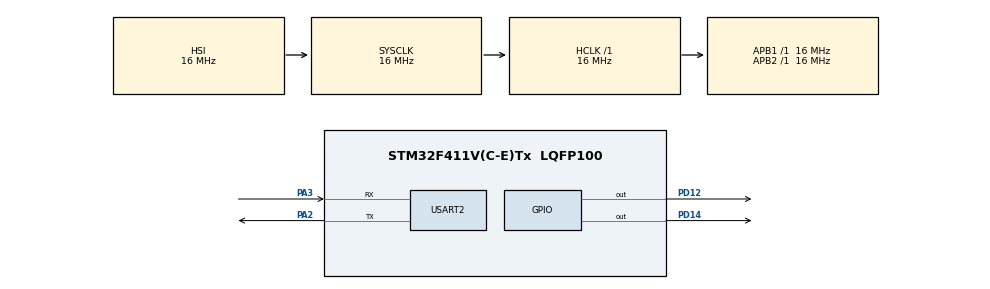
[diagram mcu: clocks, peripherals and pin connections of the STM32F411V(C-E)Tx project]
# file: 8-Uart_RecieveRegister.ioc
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Mcu.Family=STM32F4
Mcu.Name=STM32F411V(C-E)Tx
Mcu.Package=LQFP100
NVIC.PriorityGroup=NVIC_PRIORITYGROUP_4
PA2.Mode=Asynchronous
PA2.Signal=USART2_TX
PA3.Mode=Asynchronous
PA3.Signal=USART2_RX
PD12.Signal=GPIO_Output
PD14.Signal=GPIO_Output
ProjectManager.HeapSize=0x200
ProjectManager.StackSize=0x400
ProjectManager.TargetToolchain=STM32CubeIDE
RCC.AHBFreq_Value=16000000
RCC.APB1Freq_Value=16000000
RCC.APB2Freq_Value=16000000
RCC.CortexFreq_Value=16000000
RCC.HSE_VALUE=25000000
RCC.HSI_VALUE=16000000
RCC.LSE_VALUE=32768
RCC.SYSCLKFreq_VALUE=16000000
RCC.VCOOutputFreq_Value=192000000
USART2.VirtualMode=VM_ASYNC
board=custom

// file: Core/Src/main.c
/* USER CODE BEGIN Header */

/*
 	 	 	 	 ######	Bilal Habes Akcam ######
 	 	 	   	   	   02.11.2022

LED states are determined according to the data entered by the user.

  -> If entered 'O', The Green LED is Lights Up.
  -> If entered 'C', The Green LED is Lights Goes Out.
  -> If entered 'B', The Green LED is Blinks.
  -> if an external character is entered, the red led, which is the error led, will turn on.

  */

/* USER CODE END Header */
#include "main.h"

UART_HandleTypeDef huart2;

void SystemClock_Config(void);
static void MX_GPIO_Init(void);
static void MX_USART2_UART_Init(void);

int main(void)
{
  /* USER CODE BEGIN 1 */
	char myData = 0;

  /* USER CODE END 1 */

  /* MCU Configuration--------------------------------------------------------*/

  /* Reset of all peripherals, Initializes the Flash interface and the Systick. */
  HAL_Init();

  /* Configure the system clock */
  SystemClock_Config();

  /* Initialize all configured peripherals */
  MX_GPIO_Init();
  MX_USART2_UART_Init();

  /* Infinite loop */
  while (1)
  {

    /* USER CODE BEGIN 3 */

	  while(!(USART2->SR & USART_SR_RXNE));

	  myData = USART2->DR;

	  if(myData == 'O'){
		HAL_GPIO_WritePin(GPIOD, GPIO_PIN_12, SET);
		HAL_Delay(50);
		HAL_GPIO_WritePin(GPIOD, GPIO_PIN_14, RESET);

	  }

	  else if(myData == 'C'){
		HAL_GPIO_WritePin(GPIOD, GPIO_PIN_12, RESET);
		HAL_Delay(50);
		HAL_GPIO_WritePin(GPIOD, GPIO_PIN_14, RESET);
	  }

	  else if(myData == 'B'){
		  do{

			  HAL_GPIO_TogglePin(GPIOD, GPIO_PIN_12);
			  HAL_Delay(150);
			  HAL_GPIO_WritePin(GPIOD, GPIO_PIN_14, RESET);

		  }
		  while(USART2->DR == 'B');

	  }

	  else{
		  HAL_GPIO_WritePin(GPIOD, GPIO_PIN_12, RESET);
		  HAL_Delay(50);
		  HAL_GPIO_WritePin(GPIOD, GPIO_PIN_14, SET);
	  }

  }
  /* USER CODE END 3 */
}

void SystemClock_Config(void)
{
  RCC_OscInitTypeDef RCC_OscInitStruct = {0};
  RCC_ClkInitTypeDef RCC_ClkInitStruct = {0};

  /** Configure the main internal regulator output voltage
  */
  __HAL_RCC_PWR_CLK_ENABLE();
  __HAL_PWR_VOLTAGESCALING_CONFIG(PWR_REGULATOR_VOLTAGE_SCALE1);

  /** Initializes the RCC Oscillators according to the specified parameters
  * in the RCC_OscInitTypeDef structure.
  */
  RCC_OscInitStruct.OscillatorType = RCC_OSCILLATORTYPE_HSI;
  RCC_OscInitStruct.HSIState = RCC_HSI_ON;
  RCC_OscInitStruct.HSICalibrationValue = RCC_HSICALIBRATION_DEFAULT;
  RCC_OscInitStruct.PLL.PLLState = RCC_PLL_NONE;
  if (HAL_RCC_OscConfig(&RCC_OscInitStruct) != HAL_OK)
  {
    Error_Handler();
  }

  /** Initializes the CPU, AHB and APB buses clocks
  */
  RCC_ClkInitStruct.ClockType = RCC_CLOCKTYPE_HCLK|RCC_CLOCKTYPE_SYSCLK
                              |RCC_CLOCKTYPE_PCLK1|RCC_CLOCKTYPE_PCLK2;
  RCC_ClkInitStruct.SYSCLKSource = RCC_SYSCLKSOURCE_HSI;
  RCC_ClkInitStruct.AHBCLKDivider = RCC_SYSCLK_DIV1;
  RCC_ClkInitStruct.APB1CLKDivider = RCC_HCLK_DIV1;
  RCC_ClkInitStruct.APB2CLKDivider = RCC_HCLK_DIV1;

  if (HAL_RCC_ClockConfig(&RCC_ClkInitStruct, FLASH_LATENCY_0) != HAL_OK)
  {
    Error_Handler();
  }
}

static void MX_USART2_UART_Init(void)
{

  huart2.Instance = USART2;
  huart2.Init.BaudRate = 115200;
  huart2.Init.WordLength = UART_WORDLENGTH_8B;
  huart2.Init.StopBits = UART_STOPBITS_1;
  huart2.Init.Parity = UART_PARITY_NONE;
  huart2.Init.Mode = UART_MODE_TX_RX;
  huart2.Init.HwFlowCtl = UART_HWCONTROL_NONE;
  huart2.Init.OverSampling = UART_OVERSAMPLING_16;
  if (HAL_UART_Init(&huart2) != HAL_OK)
  {
    Error_Handler();
  }

}

static void MX_GPIO_Init(void)
{
  GPIO_InitTypeDef GPIO_InitStruct = {0};

  /* GPIO Ports Clock Enable */
  __HAL_RCC_GPIOA_CLK_ENABLE();
  __HAL_RCC_GPIOD_CLK_ENABLE();

  /*Configure GPIO pin Output Level */
  HAL_GPIO_WritePin(GPIOD, GPIO_PIN_12|GPIO_PIN_14, GPIO_PIN_RESET);

  /*Configure GPIO pins : PD12 PD14 */
  GPIO_InitStruct.Pin = GPIO_PIN_12|GPIO_PIN_14;
  GPIO_InitStruct.Mode = GPIO_MODE_OUTPUT_PP;
  GPIO_InitStruct.Pull = GPIO_NOPULL;
  GPIO_InitStruct.Speed = GPIO_SPEED_FREQ_LOW;
  HAL_GPIO_Init(GPIOD, &GPIO_InitStruct);

}

void Error_Handler(void)
{
  __disable_irq();
  while (1)
  {
  }
}
